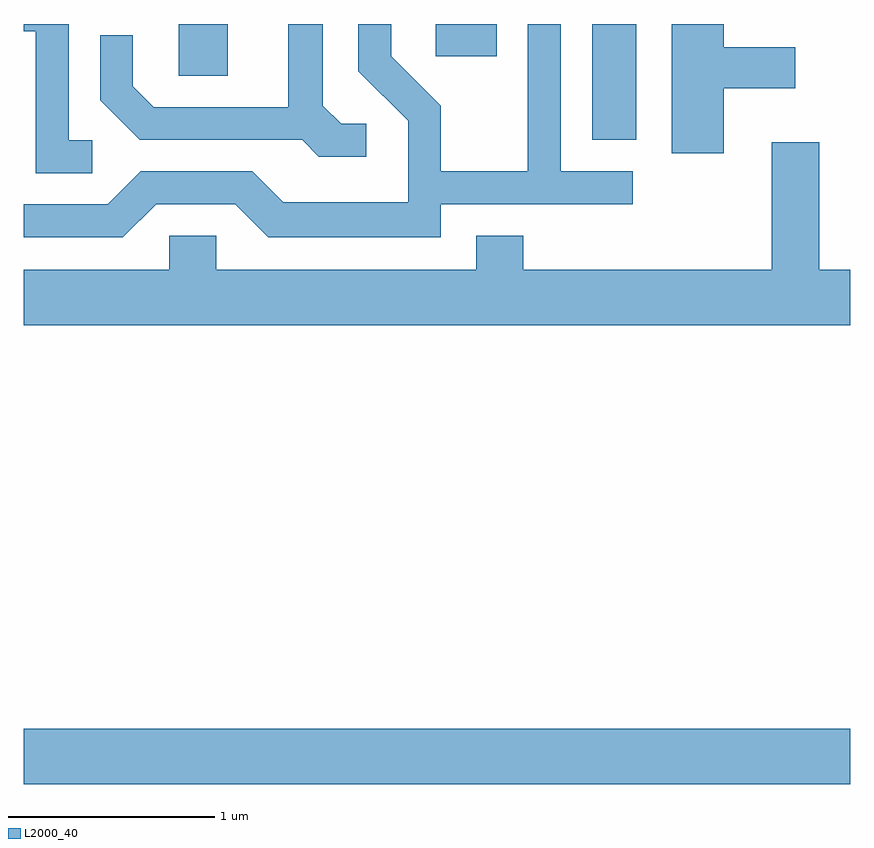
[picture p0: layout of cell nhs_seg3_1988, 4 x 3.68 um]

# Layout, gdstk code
import gdstk
lib = gdstk.Library(unit=1e-6, precision=1e-09)
def R(c, l, rs):  # rectangles x0, y0, x1, y1
    for r in rs: c.add(gdstk.rectangle(r[:2], r[2:], *l))
def P(c, l, *ps):  # polygons
    for p in ps: c.add(gdstk.Polygon(p, *l))
L2000_40 = (2000, 40)

nhs_seg3_1988 = lib.new_cell('nhs_seg3_1988')
R(nhs_seg3_1988, L2000_40, [(243.611,1148.216,247.611,1148.484), (246.361,1151.331,246.574,1151.892), (244.361,1151.641,244.599,1151.892), (245.606,1151.736,245.899,1151.892)])
P(nhs_seg3_1988, L2000_40, [(245.268,1151.409),(245.147,1151.409),(245.059,1151.497),(245.059,1151.892),(244.891,1151.892),(244.891,1151.489),(244.242,1151.489),(244.139,1151.592),(244.139,1151.838),(243.981,1151.838),(243.981,1151.524),(244.174,1151.331),(244.959,1151.331),(245.039,1151.251),(245.268,1151.251)],
  [(246.999,1151.581),(247.344,1151.581),(247.344,1151.779),(246.999,1151.779),(246.999,1151.892),(246.746,1151.892),(246.746,1151.266),(246.999,1151.266)],
  [(243.943,1151.329),(243.829,1151.329),(243.829,1151.892),(243.611,1151.892),(243.611,1151.856),(243.671,1151.856),(243.671,1151.171),(243.943,1151.171)],
  [(244.252,1151.021),(244.634,1151.021),(244.794,1150.861),(245.629,1150.861),(245.629,1151.021),(246.558,1151.021),(246.558,1151.179),(246.209,1151.179),(246.209,1151.892),(246.051,1151.892),(246.051,1151.179),(245.629,1151.179),(245.629,1151.497),(245.389,1151.737),(245.389,1151.892),(245.231,1151.892),(245.231,1151.664),(245.471,1151.424),(245.471,1151.029),(244.867,1151.029),(244.717,1151.179),(244.179,1151.179),(244.019,1151.019),(243.611,1151.019),(243.611,1150.861),(244.092,1150.861)],
  [(247.611,1150.704),(247.459,1150.704),(247.459,1151.319),(247.231,1151.319),(247.231,1150.704),(246.029,1150.704),(246.029,1150.869),(245.801,1150.869),(245.801,1150.704),(244.544,1150.704),(244.544,1150.869),(244.316,1150.869),(244.316,1150.704),(243.611,1150.704),(243.611,1150.436),(247.611,1150.436)])

lib.write_gds('nhs_seg3_1988.gds')
